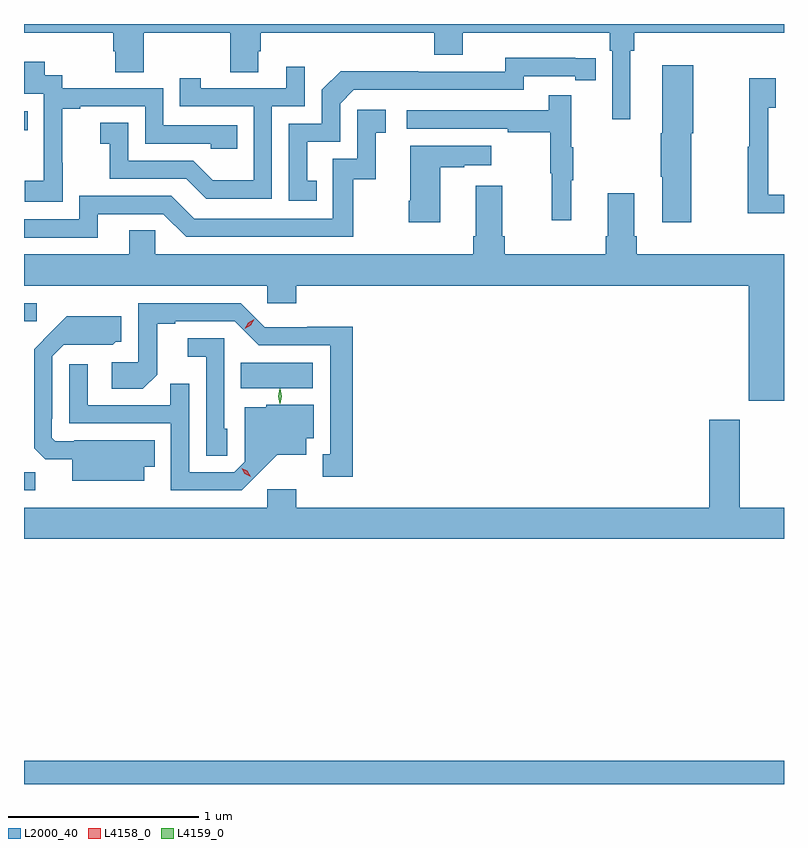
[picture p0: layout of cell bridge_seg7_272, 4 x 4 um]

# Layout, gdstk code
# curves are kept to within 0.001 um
import gdstk
lib = gdstk.Library(unit=1e-6, precision=1e-09)
def R(c, l, rs):  # rectangles x0, y0, x1, y1
    for r in rs: c.add(gdstk.rectangle(r[:2], r[2:], *l))
def P(c, l, *ps):  # polygons
    for p in ps: c.add(gdstk.Polygon(p, *l))
L2000_40 = (2000, 40)
L4158_0 = (4158, 0)
L4159_0 = (4159, 0)

bridge_seg7_272 = lib.new_cell('bridge_seg7_272')
R(bridge_seg7_272, L2000_40, [(136.45,1069.921,140.45,1070.044), (136.45,1071.468,136.509,1071.563), (137.59,1072.004,137.971,1072.138), (136.45,1072.356,136.516,1072.452), (136.45,1073.362,136.469,1073.463)])
P(bridge_seg7_272, L2000_40, [(139.642,1073.78),(139.661,1073.78),(139.661,1073.876),(140.45,1073.876),(140.45,1073.921),(136.45,1073.921),(136.45,1073.876),(136.919,1073.876),(136.919,1073.778),(136.931,1073.778),(136.931,1073.668),(137.079,1073.668),(137.079,1073.876),(137.536,1073.876),(137.536,1073.668),(137.683,1073.668),(137.683,1073.778),(137.696,1073.778),(137.696,1073.876),(138.608,1073.876),(138.608,1073.759),(138.76,1073.759),(138.76,1073.876),(139.532,1073.876),(139.532,1073.78),(139.545,1073.78),(139.545,1073.421),(139.642,1073.421)],
  [(137.99,1073.097),(137.941,1073.097),(137.941,1073.301),(138.114,1073.301),(138.114,1073.502),(138.186,1073.574),(139.08,1073.574),(139.08,1073.646),(139.352,1073.646),(139.352,1073.626),(139.46,1073.626),(139.46,1073.742),(138.984,1073.743),(138.984,1073.67),(138.524,1073.67),(138.524,1073.672),(138.116,1073.672),(138.018,1073.574),(138.018,1073.397),(137.844,1073.397),(137.844,1072.992),(137.99,1072.992)],
  [(136.653,1073.191),(136.652,1073.191),(136.652,1073.475),(136.747,1073.475),(136.747,1073.487),(137.088,1073.487),(137.088,1073.292),(137.433,1073.292),(137.433,1073.265),(137.573,1073.265),(137.573,1073.388),(137.184,1073.388),(137.184,1073.583),(136.65,1073.583),(136.65,1073.652),(136.558,1073.652),(136.558,1073.722),(136.45,1073.722),(136.45,1073.553),(136.554,1073.553),(136.554,1073.324),(136.553,1073.324),(136.553,1073.095),(136.455,1073.095),(136.455,1072.985),(136.653,1072.985)],
  [(139.962,1073.346),(139.972,1073.346),(139.972,1073.704),(139.808,1073.704),(139.808,1073.346),(139.801,1073.346),(139.801,1073.116),(139.808,1073.116),(139.808,1072.878),(139.962,1072.878)],
  [(137.754,1073.487),(137.928,1073.487),(137.928,1073.695),(137.831,1073.695),(137.831,1073.583),(137.38,1073.583),(137.38,1073.635),(137.269,1073.635),(137.269,1073.487),(137.658,1073.487),(137.658,1073.098),(137.444,1073.098),(137.34,1073.202),(136.998,1073.202),(136.998,1073.401),(136.851,1073.401),(136.851,1073.291),(136.9,1073.291),(136.9,1073.106),(137.303,1073.106),(137.408,1073.001),(137.754,1073.001)],
  [(140.45,1073.022),(140.367,1073.022),(140.367,1073.479),(140.407,1073.479),(140.407,1073.635),(140.266,1073.635),(140.266,1073.276),(140.259,1073.276),(140.259,1072.925),(140.45,1072.925)],
  [(139.331,1073.099),(139.342,1073.099),(139.342,1073.273),(139.331,1073.273),(139.331,1073.545),(139.213,1073.545),(139.213,1073.466),(138.465,1073.466),(138.465,1073.37),(138.997,1073.37),(138.997,1073.35),(139.221,1073.35),(139.221,1073.136),(139.228,1073.136),(139.228,1072.887),(139.331,1072.887)],
  [(136.837,1072.92),(137.184,1072.92),(137.304,1072.8),(138.184,1072.8),(138.184,1073.103),(138.302,1073.103),(138.302,1073.349),(138.355,1073.349),(138.355,1073.47),(138.204,1073.47),(138.204,1073.211),(138.075,1073.211),(138.075,1072.896),(137.346,1072.896),(137.226,1073.016),(136.74,1073.016),(136.74,1072.893),(136.45,1072.893),(136.45,1072.797),(136.837,1072.797)],
  [(138.64,1073.167),(138.767,1073.167),(138.767,1073.177),(138.91,1073.177),(138.91,1073.281),(138.482,1073.281),(138.482,1072.99),(138.475,1072.99),(138.475,1072.878),(138.64,1072.878)],
  [(137.142,1072.835),(137.003,1072.835),(137.003,1072.708),(136.45,1072.708),(136.45,1072.544),(137.73,1072.544),(137.73,1072.451),(137.882,1072.451),(137.882,1072.544),(140.264,1072.544),(140.264,1071.938),(140.45,1071.938),(140.45,1072.708),(139.676,1072.708),(139.676,1072.804),(139.663,1072.804),(139.663,1073.029),(139.523,1073.029),(139.523,1072.804),(139.511,1072.804),(139.511,1072.708),(138.98,1072.708),(138.98,1072.804),(138.967,1072.804),(138.967,1073.071),(138.827,1073.071),(138.827,1072.804),(138.815,1072.804),(138.815,1072.708),(137.142,1072.708)],
  [(138.181,1072.328),(137.94,1072.328),(137.94,1072.326),(137.718,1072.326),(137.592,1072.452),(137.052,1072.452),(137.052,1072.14),(136.911,1072.14),(136.911,1072),(137.075,1072),(137.151,1072.076),(137.151,1072.344),(137.245,1072.344),(137.245,1072.356),(137.559,1072.356),(137.685,1072.23),(138.062,1072.23),(138.062,1071.657),(138.023,1071.657),(138.023,1071.537),(138.181,1071.537)],
  [(137.083,1071.59),(137.138,1071.59),(137.138,1071.73),(136.714,1071.73),(136.714,1071.726),(136.614,1071.726),(136.596,1071.744),(136.596,1071.844),(136.599,1071.844),(136.599,1072.173),(136.659,1072.233),(136.916,1072.232),(136.932,1072.248),(136.963,1072.248),(136.963,1072.384),(136.675,1072.384),(136.503,1072.21),(136.503,1071.688),(136.562,1071.629),(136.703,1071.629),(136.703,1071.518),(137.083,1071.518)],
  [(137.52,1071.792),(137.505,1071.792),(137.505,1072.266),(137.313,1072.266),(137.313,1072.169),(137.409,1072.169),(137.409,1071.649),(137.52,1071.649)],
  [(137.68,1071.551),(137.783,1071.653),(137.935,1071.653),(137.935,1071.74),(137.974,1071.74),(137.974,1071.916),(137.724,1071.916),(137.724,1071.904),(137.613,1071.904),(137.613,1071.618),(137.556,1071.561),(137.319,1071.561),(137.319,1072.028),(137.221,1072.028),(137.221,1071.915),(136.785,1071.915),(136.785,1072.129),(136.689,1072.129),(136.689,1071.819),(137.223,1071.819),(137.223,1071.468),(137.596,1071.468)],
  [(140.45,1071.376),(140.217,1071.376),(140.217,1071.838),(140.057,1071.838),(140.057,1071.376),(137.882,1071.376),(137.882,1071.472),(137.73,1071.472),(137.73,1071.376),(136.45,1071.376),(136.45,1071.212),(140.45,1071.212)])
P(bridge_seg7_272, L4158_0, [(137.612,1072.316),(137.612,1072.316),(137.63,1072.349),(137.662,1072.368),(137.662,1072.368),(137.662,1072.367),(137.644,1072.335),(137.612,1072.316)],
  [(137.643,1071.539),(137.613,1071.554),(137.595,1071.583),(137.595,1071.584),(137.596,1071.584),(137.626,1071.569),(137.644,1071.539),(137.644,1071.539)])
P(bridge_seg7_272, L4159_0, [(137.797,1071.922),(137.797,1071.922),(137.787,1071.962),(137.797,1072.002),(137.797,1072.002),(137.798,1072.002),(137.807,1071.962),(137.798,1071.922)])

lib.write_gds('bridge_seg7_272.gds')
